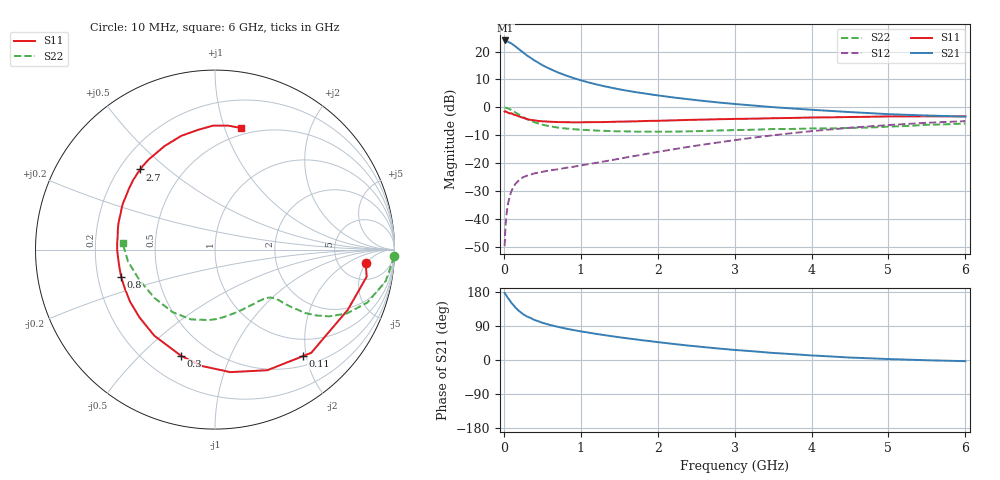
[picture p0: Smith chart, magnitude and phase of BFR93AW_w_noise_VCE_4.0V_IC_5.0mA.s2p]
! Infineon Technologies  Discrete & RF Semiconductors
! BFR93AW
! VCE =  4.0 V,  IC =  5.0 mA
! Common Emitter S-Parameters:  Jan 2017
# GHz  S  MA  R  50
!  f  S11  S21  S12  S22
! GHz  MAG  ANG  MAG  ANG  MAG  ANG  MAG  ANG
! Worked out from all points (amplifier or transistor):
!   77 points, 10 MHz to 6 GHz, reference 50 ohm
!   highest |S21| = 24.0 dB at 20 MHz (marker M1)
!   |S21| within 3 dB of that: start of sweep to 190.7 MHz
!   unconditionally stable (mu >= 1): 1.032 GHz to 2.222 GHz
!   at 130 MHz: K = 0.19, MSG = 25.3 dB, |S12| = -28.3 dB
!   at 2.2 GHz: K = 1.00, MAG = 8.9 dB, |S12| = -15.0 dB
!   at 6 GHz: K = 0.90, MSG = 0.8 dB, |S12| = -4.9 dB
!   lowest NFmin = 1.18 dB at 450 MHz
!   S11 on the Smith chart (normalised r, x): 10 MHz: 9, -5; 110 MHz: 0.67, -1.93; 300 MHz: 0.35, -0.67; 800 MHz: 0.30, -0.13; 2.7 GHz: 0.28, +0.40; 6 GHz: 0.44, +1.14
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0.01  0.843 -5.2  15.54 176.9  0.0033 86.0  0.9988 -2.1
0.02  0.8584 -10.1  15.78 173.8  0.0069 86.6  0.9891 -4.3
0.05  0.8124 -24.4  15.14 164.4  0.0176 77.2  0.9676 -10.4
0.1  0.7863 -47.0  13.9 150.3  0.0322 68.4  0.8987 -19.2
0.11  0.7687 -50.6  13.55 148.2  0.0343 66.2  0.8811 -20.4
0.15  0.7327 -66.5  12.37 138.5  0.0429 59.5  0.8153 -25.9
0.2  0.688 -82.9  10.91 128.9  0.0504 53.3  0.7372 -30.3
0.25  0.6523 -96.6  9.645 121.0  0.0565 49.3  0.6718 -33.1
0.3  0.6207 -107.9  8.522 114.9  0.06 46.3  0.6168 -35.0
0.4  0.5868 -125.2  6.896 105.4  0.0662 43.9  0.5411 -36.8
0.5  0.5654 -138.2  5.717 98.3  0.0706 43.4  0.4913 -37.8
0.6  0.555 -148.6  4.886 92.5  0.075 44.1  0.459 -38.3
0.8  0.5447 -163.7  3.762 83.1  0.0827 47.7  0.421 -39.8
0.9  0.5417 -169.7  3.367 79.2  0.0866 48.7  0.4088 -40.8
1.1  0.545 -179.7  2.806 72.3  0.0967 52.7  0.3926 -43.6
1.5  0.557 165.1  2.112 60.1  0.1209 58.5  0.3736 -51.7
2.1  0.5815 147.4  1.575 44.9  0.1689 62.8  0.3679 -68.0
2.7  0.6105 133.0  1.263 32.1  0.2274 62.2  0.3828 -86.1
3.1  0.6255 124.2  1.123 25.1  0.2712 59.8  0.3953 -97.7
4.1  0.6624 104.8  0.891 11.0  0.3874 50.0  0.4201 -127.6
5.1  0.691 89.4  0.75 1.9  0.4935 37.1  0.4585 -160.9
6  0.693 78.1  0.685 -3.1  0.5692 25.1  0.5161 175.9
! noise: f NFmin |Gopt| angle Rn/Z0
0.45  1.18  0.25  77  0.14
0.9  1.5  0.29  137  0.15
1.9  2.75  0.49  -153  0.19
2.4  3.37  0.57  -135  0.38
